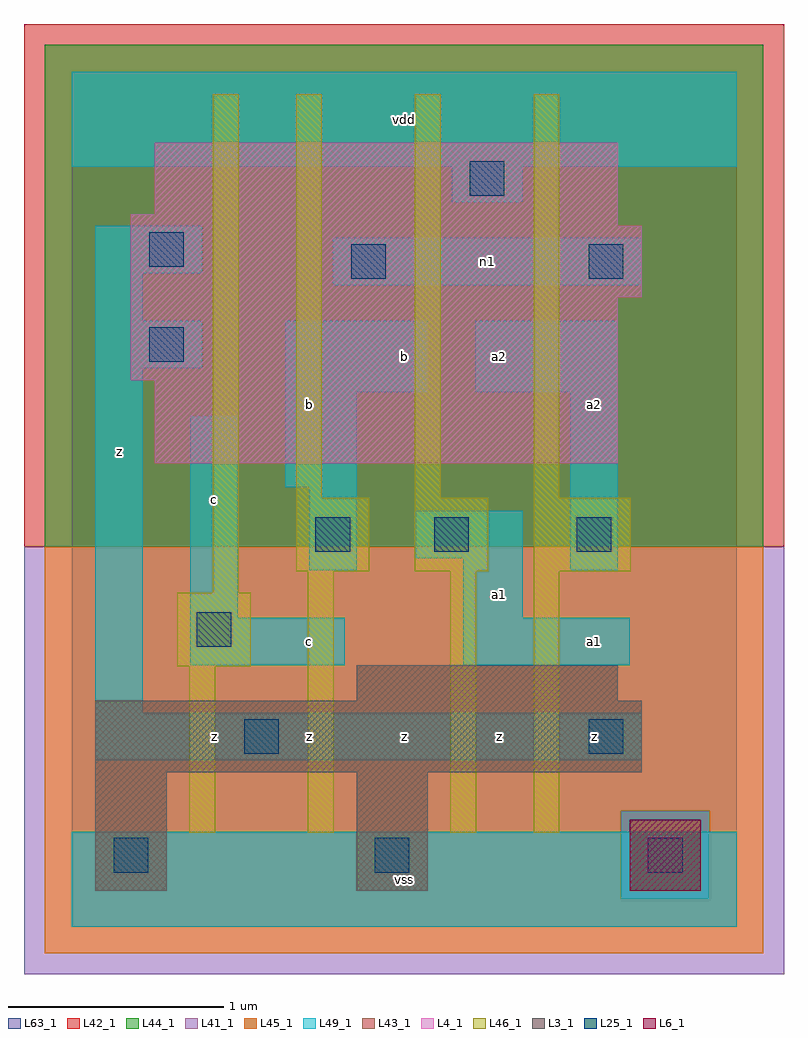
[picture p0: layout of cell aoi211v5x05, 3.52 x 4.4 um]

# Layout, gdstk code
import gdstk
lib = gdstk.Library(unit=1e-6, precision=1e-09)
def R(c, l, rs):  # rectangles x0, y0, x1, y1
    for r in rs: c.add(gdstk.rectangle(r[:2], r[2:], *l))
def A(c, l, x, y, w, h, nx, ny, dx, dy):  # array of equal rectangles
    R(c, l, [(x+i*dx, y+j*dy, x+i*dx+w, y+j*dy+h) for i in range(nx) for j in range(ny)])
L3_1 = (3, 1)
L4_1 = (4, 1)
L6_1 = (6, 1)
L25_1 = (25, 1)
L41_1 = (41, 1)
L42_1 = (42, 1)
L43_1 = (43, 1)
L44_1 = (44, 1)
L45_1 = (45, 1)
L46_1 = (46, 1)
L49_1 = (49, 1)
L63_1 = (63, 1)

aoi211v5x05 = lib.new_cell('aoi211v5x05')
R(aoi211v5x05, L3_1, [(0.11,0.165,0.44,0.715), (1.32,0.165,1.65,0.715), (0.11,0.715,2.64,1.045), (1.32,1.045,2.53,1.21)])
R(aoi211v5x05, L4_1, [(0.385,2.145,2.53,2.53), (0.275,2.53,2.53,2.915), (0.275,2.915,2.64,3.245), (0.275,3.245,2.53,3.3), (0.385,3.3,2.53,3.63)])
R(aoi211v5x05, L6_1, [(2.585,0.165,2.915,0.495)])
R(aoi211v5x05, L25_1, [(0.195,0.25,0.355,0.41), (1.405,0.25,1.565,0.41), (2.67,0.25,2.83,0.41), (0.8,0.8,0.96,0.96), (2.395,0.8,2.555,0.96), (0.58,1.295,0.74,1.455), (1.13,1.735,1.29,1.895), (1.68,1.735,1.84,1.895), (2.34,1.735,2.5,1.895), (0.36,2.615,0.52,2.775), (1.295,3,1.455,3.16), (2.395,3,2.555,3.16), (0.36,3.055,0.52,3.215), (1.845,3.385,2.005,3.545)])
R(aoi211v5x05, L41_1, [(-0.22,-0.22,3.3,1.76)])
R(aoi211v5x05, L42_1, [(-0.22,1.76,3.3,4.18)])
R(aoi211v5x05, L43_1, [(0.11,0.165,0.44,0.715), (1.32,0.165,1.65,0.715), (2.585,0.165,2.915,0.495), (0.11,0.715,2.64,1.045), (1.32,1.045,2.53,1.21), (0.385,2.145,2.53,2.53), (0.275,2.53,2.53,2.915), (0.275,2.915,2.64,3.245), (0.275,3.245,2.53,3.3), (0.385,3.3,2.53,3.63)])
R(aoi211v5x05, L44_1, [(2.545,0.125,2.955,0.535), (-0.125,1.76,3.205,4.085)])
R(aoi211v5x05, L45_1, [(-0.125,-0.125,3.205,0.125), (-0.125,0.125,2.545,0.535), (2.955,0.125,3.205,0.535), (-0.125,0.535,3.205,1.76)])
A(aoi211v5x05, L46_1, 1.04, 1.985, 0.12, 1.87, 3, 1, 0.55, 0)
R(aoi211v5x05, L46_1, [(0.545,0.435,0.665,1.205), (1.095,0.435,1.215,1.645), (1.755,0.435,1.875,1.645), (2.14,0.435,2.26,1.645), (0.49,1.205,0.83,1.545), (0.655,1.545,0.775,3.855), (1.04,1.645,1.38,1.985), (1.59,1.645,1.93,1.985), (2.14,1.645,2.59,1.985)])
R(aoi211v5x05, L49_1, [(0,0,3.08,0.44), (0.11,0.77,2.64,0.99), (0.11,0.99,0.33,2.585), (0.55,1.21,1.265,1.43), (1.815,1.21,2.585,1.43), (0.55,1.43,0.77,2.365), (1.815,1.43,2.09,1.705), (1.1,1.65,1.32,2.035), (2.31,1.65,2.53,2.475), (1.595,1.705,2.09,1.925), (0.99,2.035,1.32,2.475), (0.99,2.475,1.65,2.805), (1.87,2.475,2.53,2.805), (0.11,2.585,0.605,2.805), (0.11,2.805,0.33,3.025), (1.21,2.97,2.64,3.19), (0.11,3.025,0.605,3.245), (1.76,3.355,2.09,3.52), (0,3.52,3.08,3.96)])
R(aoi211v5x05, L63_1, [(0,0,3.08,3.96)])
aoi211v5x05.add(gdstk.Label('z', (0.22,2.2), layer=49, texttype=1))
aoi211v5x05.add(gdstk.Label('z', (1.1,0.88), layer=49, texttype=1))
aoi211v5x05.add(gdstk.Label('z', (0.66,0.88), layer=49, texttype=1))
aoi211v5x05.add(gdstk.Label('c', (1.1,1.32), layer=49, texttype=1))
aoi211v5x05.add(gdstk.Label('c', (0.66,1.98), layer=49, texttype=1))
aoi211v5x05.add(gdstk.Label('b', (1.1,2.42), layer=49, texttype=1))
aoi211v5x05.add(gdstk.Label('vss', (1.54,0.22), layer=49, texttype=1))
aoi211v5x05.add(gdstk.Label('z', (1.98,0.88), layer=49, texttype=1))
aoi211v5x05.add(gdstk.Label('z', (1.54,0.88), layer=49, texttype=1))
aoi211v5x05.add(gdstk.Label('a1', (1.98,1.54), layer=49, texttype=1))
aoi211v5x05.add(gdstk.Label('b', (1.54,2.64), layer=49, texttype=1))
aoi211v5x05.add(gdstk.Label('a2', (1.98,2.64), layer=49, texttype=1))
aoi211v5x05.add(gdstk.Label('vdd', (1.54,3.74), layer=49, texttype=1))
aoi211v5x05.add(gdstk.Label('z', (2.42,0.88), layer=49, texttype=1))
aoi211v5x05.add(gdstk.Label('a1', (2.42,1.32), layer=49, texttype=1))
aoi211v5x05.add(gdstk.Label('a2', (2.42,2.42), layer=49, texttype=1))
aoi211v5x05.add(gdstk.Label('n1', (1.925,3.08), layer=49, texttype=1))

lib.write_gds('aoi211v5x05.gds')
